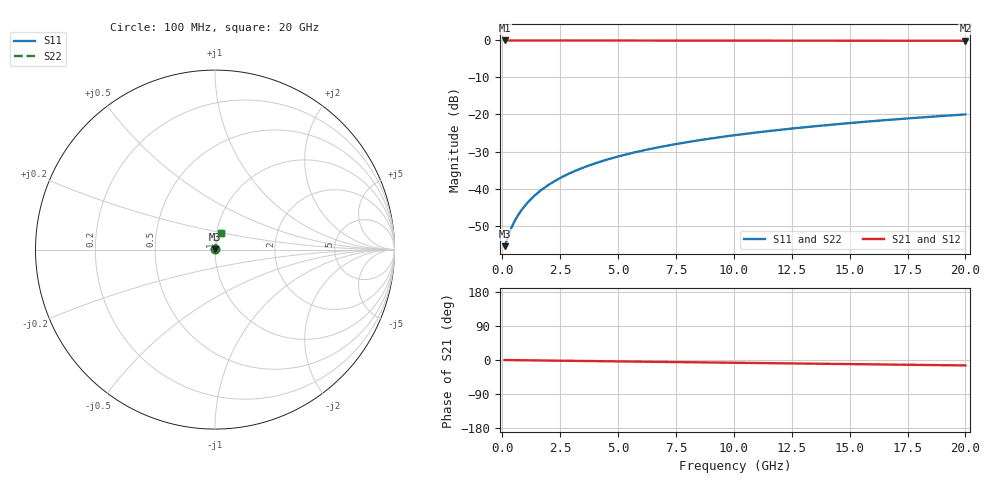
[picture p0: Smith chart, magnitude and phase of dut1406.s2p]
! Touchstone file exported from HFSS 2026.1.0
!  File:  C:/ffzhzh/LocalFiles/Ansys_Project_Files/temp_train_BSMRDL_1406_1783179965_55132.aedt
!  Generated:  11:47:15 PM Jul  4, 2026
!  Design:  BSMRDL
!  Project:  temp_train_BSMRDL_1406_1783179965_55132
! Variables:
!  h_bsmrdl = 3.76um
!  h_ox = 20um
!  h_rdl = 5um
!  h_sub = 80um
!  h_tmrdl = 5um
!  h_tsv = 80um
!  h_via = 3um
!  l_bsmrdl = 221.41um
!  l_sub = 621.41um
!  l_tmrdl = 200um
!  m_sub = 200um
!  pitch = 25.69um
!  r_tsv = 6um
!  s_tmrdl = 10um
!  w_bsmrdl = 15.32um
!  w_sub = 500um
!  w_tmrdl = 12um
!  x_tsv_center1 = 206um
!  x_tsv_center2 = 442.73um
!  x_tsv_center3 = 654.73um
!  x_tsv_center4 = 891.46um
!  x_tsv_center5 = 1103.46um
!  x_tsv_center6 = 1340.19um
# GHz S MA R 50.000000
! Terminal data exported
! Port[1] = BSM_RDL1_1_T1
! Port[2] = BSM_RDL1_1_T2
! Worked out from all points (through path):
!   200 points, 100 MHz to 20 GHz, reference 50 ohm
!   highest |S21| = -0.01 dB at 100 MHz (marker M1); lowest = -0.1 dB at 20 GHz (marker M2)
!   group delay of S21, straight-line fit = 1.98 ps
!   lowest |S11| = -55.6 dB at 100 MHz (marker M3), VSWR 1.00, Z = 50.2 + j0.0654 ohm
!   |S11| at or under -10 dB: start of sweep to end of sweep
!   |S22| runs from -55.6 to -20.0 dB; largest |S21 - S12| = 3e-15
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0.1  0.001667 23.0  0.9985 -0.1  0.9985 -0.1  0.001667 23.0
! Gamma 0 0 0 0
! Port Impedance 50 0 50 0
0.3  0.002505 48.0  0.9983 -0.2  0.9983 -0.2  0.002505 48.0
0.4  0.002987 54.1  0.9983 -0.3  0.9983 -0.3  0.002987 54.1
0.6  0.003964 61.9  0.9982 -0.5  0.9982 -0.5  0.003964 61.9
0.7  0.004459 64.5  0.9981 -0.5  0.9981 -0.5  0.004459 64.5
0.9  0.005464 68.6  0.998 -0.7  0.998 -0.7  0.005464 68.6
1.2  0.007004 72.5  0.998 -0.9  0.998 -0.9  0.007004 72.5
1.4  0.008047 74.3  0.9979 -1.0  0.9979 -1.0  0.008047 74.3
1.7  0.009627 76.2  0.9979 -1.3  0.9979 -1.3  0.009627 76.2
2.2  0.01228 78.1  0.9977 -1.6  0.9977 -1.6  0.01228 78.1
2.8  0.01547 79.3  0.9976 -2.1  0.9976 -2.1  0.01547 79.3
3.5  0.01919 79.9  0.9973 -2.6  0.9973 -2.6  0.01919 79.9
4.2  0.02288 80.1  0.997 -3.1  0.997 -3.1  0.02288 80.1
5  0.02706 80.0  0.9967 -3.7  0.9967 -3.7  0.02706 80.0
5.9  0.03172 79.8  0.9962 -4.3  0.9962 -4.3  0.03172 79.8
6.8  0.03632 79.4  0.9958 -5.0  0.9958 -5.0  0.03632 79.4
8.3  0.04389 78.7  0.995 -6.1  0.995 -6.1  0.04389 78.7
10.1  0.05282 77.7  0.994 -7.3  0.994 -7.3  0.05282 77.7
11.7  0.06066 76.8  0.9932 -8.5  0.9932 -8.5  0.06066 76.8
13.4  0.06889 75.8  0.9922 -9.7  0.9922 -9.7  0.06889 75.8
16.7  0.08465 73.8  0.9903 -12.0  0.9903 -12.0  0.08465 73.8
20  0.1001 71.8  0.9882 -14.3  0.9882 -14.3  0.1001 71.8
